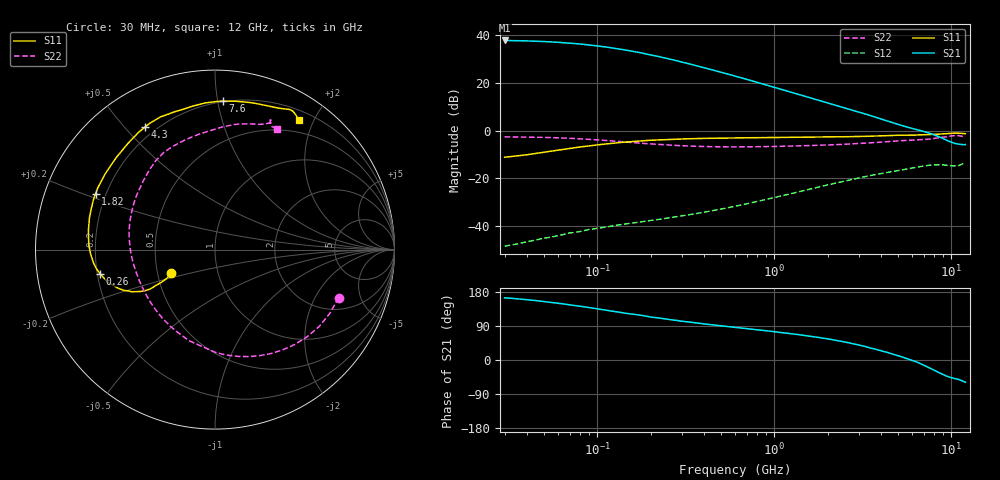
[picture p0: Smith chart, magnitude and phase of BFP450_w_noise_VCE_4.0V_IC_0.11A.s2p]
! (c) 2015  Infineon Technologies AG, Munich
! Infineon Technologies  Discrete & RF Semiconductors
! BFP450
! VCE =  4.0 V,  IC = 0.11 A
! Common Emitter S-Parameters:  Nov 2015
# GHz  S  MA  R  50
!  f  S11  S21  S12  S22
! GHz  MAG  ANG  MAG  ANG  MAG  ANG  MAG  ANG
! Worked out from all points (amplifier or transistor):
!   239 points, 30 MHz to 12 GHz, reference 50 ohm
!   highest |S21| = 37.7 dB at 30 MHz (marker M1)
!   |S21| within 3 dB of that: start of sweep to 118.3 MHz
!   unconditionally stable (mu >= 1): 883.8 MHz to end of sweep
!   at 300 MHz: K = 0.74, MSG = 32.2 dB, |S12| = -35.7 dB
!   at 1.88 GHz: K = 1.09, MAG = 15.9 dB, |S12| = -23.2 dB
!   at 12 GHz: K = 1.08, MAG = 2.1 dB, |S12| = -13.5 dB
!   lowest NFmin = 2.22 dB at 450 MHz
!   S11 on the Smith chart (normalised r, x): 30 MHz: 0.59, -0.17; 260 MHz: 0.21, -0.10; 1.82 GHz: 0.16, +0.22; 4.3 GHz: 0.16, +0.57; 7.6 GHz: 0.20, +1.03; 12 GHz: 0.32, +1.79
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0.03  0.2764 -151.6  77.08 164.1  0.0038 69.1  0.7391 -21.3
0.04  0.3112 -149.2  75.36 159.2  0.0047 68.1  0.7318 -29.0
0.05  0.3542 -148.6  73.22 154.3  0.0056 65.9  0.7214 -36.5
0.06  0.3878 -148.8  70.49 150.1  0.0063 64.0  0.7064 -43.5
0.07  0.4236 -148.7  67.66 145.5  0.0072 64.0  0.6902 -50.1
0.085  0.4654 -150.2  63.46 140.2  0.0081 61.1  0.6639 -59.2
0.11  0.5205 -153.2  56.73 132.1  0.0095 58.4  0.6243 -72.7
0.14  0.5688 -157.1  49.53 124.5  0.0109 56.6  0.5838 -86.1
0.165  0.5955 -160.0  44.55 120.0  0.0118 56.1  0.5543 -94.5
0.2  0.6272 -163.5  38.35 113.4  0.0131 55.4  0.5276 -106.1
0.24  0.6464 -166.8  33.25 108.6  0.0144 55.6  0.5033 -115.6
0.26  0.6547 -168.2  31.05 106.4  0.015 55.9  0.4949 -119.9
0.3  0.6683 -170.6  27.21 102.4  0.0164 56.6  0.4818 -127.4
0.4  0.6859 -175.4  20.75 95.2  0.0195 58.5  0.464 -140.7
0.6  0.7032 178.0  13.8 86.0  0.026 60.9  0.4557 -157.0
1  0.7157 169.0  8.022 74.7  0.0395 61.5  0.4654 -174.3
1.64  0.7318 157.8  4.711 62.1  0.0611 57.0  0.4877 169.0
1.82  0.7349 154.9  4.204 58.8  0.067 55.2  0.4937 165.2
4.3  0.7863 119.6  1.61 20.6  0.1317 27.0  0.5862 126.0
4.5  0.792 117.4  1.522 17.7  0.1357 25.1  0.595 123.7
7.6  0.8284 87.0  0.87 -22.0  0.1889 -8.1  0.6665 91.3
12  0.8595 57.1  0.509 -58.6  0.2121 -40.1  0.7561 62.6
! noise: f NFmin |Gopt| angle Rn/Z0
0.45  2.22  0.65  -171  0.07
0.9  2.28  0.68  -165  0.09
1.9  2.37  0.69  -149  0.17
2.4  2.45  0.69  -140  0.26
